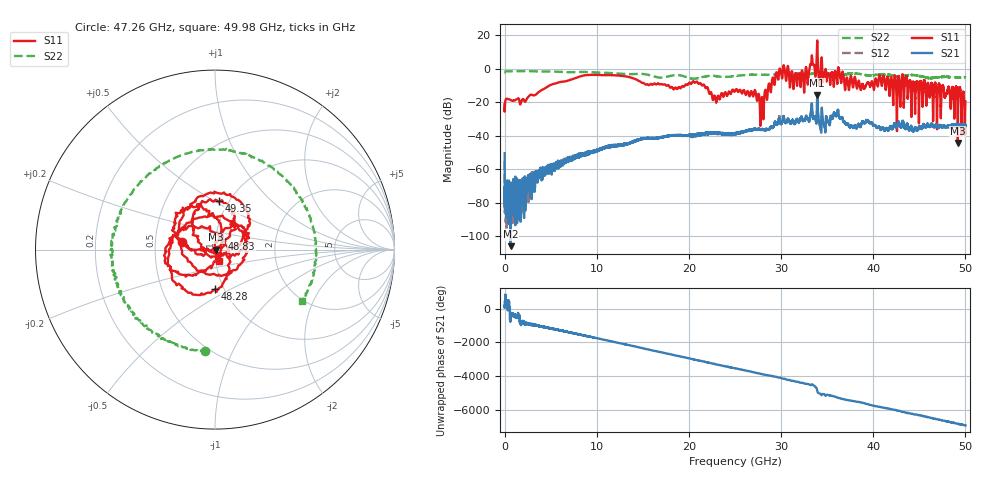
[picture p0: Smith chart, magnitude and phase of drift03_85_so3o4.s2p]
!Created with skrf (http://scikit-rf.org).
# Hz S RI R 50.0
!freq ReS11 ImS11 ReS21 ImS21 ReS12 ImS12 ReS22 ImS22
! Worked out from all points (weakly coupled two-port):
!   10001 points, 300 kHz to 50 GHz, reference 50 ohm
!   highest |S21| = -15.67 dB at 33.93 GHz (marker M1); lowest = -106.1 dB at 650.3 MHz (marker M2)
!   lowest |S11| = -44.3 dB at 49.18 GHz (marker M3), VSWR 1.01, Z = 50.6 - j0.106 ohm
!   |S11| at or under -10 dB: start of sweep to 4.85 GHz; 21.69 GHz to 28.63 GHz (6.937 GHz wide, 27.6 % of centre); 47.57 GHz to end of sweep (the widest 3 of 47)
!   |S22| runs from -5.9 to -1.3 dB; largest |S21 - S12| = 0.016
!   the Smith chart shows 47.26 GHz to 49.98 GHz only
!   S11 on the Smith chart (normalised r, x): 47.26 GHz: 0.69, +0.06; 48.28 GHz: 0.90, -0.42; 48.83 GHz: 1.08, +0.12; 49.35 GHz: 0.90, +0.53; 49.98 GHz: 1.03, -0.14
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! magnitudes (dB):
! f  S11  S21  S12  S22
! 300 kHz  -21.3  -50.5  -55.4  -2.1
! 255.3 MHz  -17.9  -75.1  -72.9  -1.4
! 650.3 MHz  -18.6  -106.1  -74.8  -1.5
! 8.335 GHz  -4.3  -51.6  -51.1  -1.9
! 16.67 GHz  -8.8  -41.4  -41.6  -5.1
! 21.01 GHz  -8.8  -39.3  -39.0  -5.5
! 22.81 GHz  -16.1  -38.4  -38.4  -4.2
! 25 GHz  -13.4  -39.1  -38.8  -4.3
! 27.92 GHz  -17.1  -36.3  -36.4  -3.5
! 29.69 GHz  -6.4  -31.8  -31.6  -3.1
! 32.32 GHz  -1.5  -30.6  -30.8  -3.3
! 33.34 GHz  7.9  -20.6  -20.9  -2.9
! 33.93 GHz  17.0  -15.7  -16.0  -2.5
! 37.16 GHz  -5.3  -32.9  -33.0  -3.2
! 41.67 GHz  -9.0  -36.4  -36.7  -3.6
! 47.26 GHz  -14.5  -33.6  -34.1  -4.9
! 48.28 GHz  -13.1  -34.3  -34.5  -5.0
! 48.83 GHz  -23.1  -33.8  -34.1  -5.1
! 49.18 GHz  -44.3  -33.9  -33.7  -5.1
! 49.35 GHz  -11.4  -33.2  -33.8  -5.1
! 49.98 GHz  -23.2  -34.7  -33.9  -5.0
! 50 GHz  -19.6  -33.5  -34.3  -5.0
